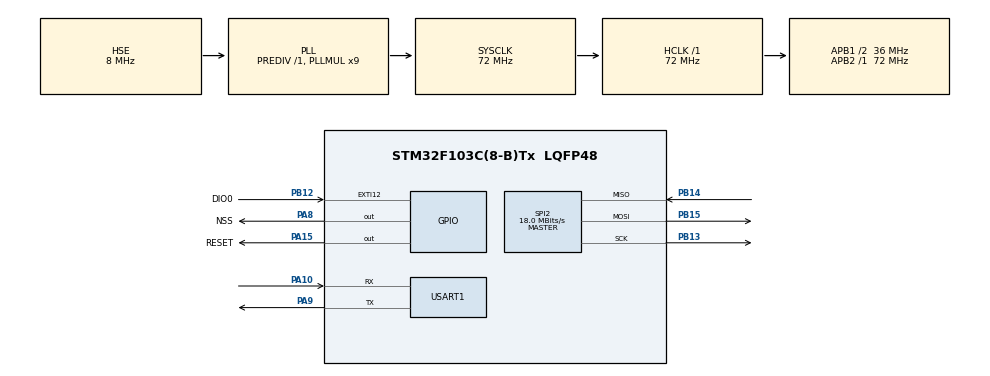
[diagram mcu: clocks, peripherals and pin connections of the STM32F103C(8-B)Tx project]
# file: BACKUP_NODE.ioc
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Mcu.Family=STM32F1
Mcu.Name=STM32F103C(8-B)Tx
Mcu.Package=LQFP48
NVIC.EXTI15_10_IRQn=true\:0\:0\:false\:false\:true\:true\:true\:true
NVIC.PriorityGroup=NVIC_PRIORITYGROUP_4
PA10.Mode=Asynchronous
PA10.Signal=USART1_RX
PA13.Mode=Serial_Wire
PA13.Signal=SYS_JTMS-SWDIO
PA14.Mode=Serial_Wire
PA14.Signal=SYS_JTCK-SWCLK
PA15.GPIO_Label=RESET
PA15.GPIO_PuPd=GPIO_NOPULL
PA15.PinState=GPIO_PIN_SET
PA15.Signal=GPIO_Output
PA8.GPIO_Label=NSS
PA8.PinState=GPIO_PIN_SET
PA8.Signal=GPIO_Output
PA9.Mode=Asynchronous
PA9.Signal=USART1_TX
PB12.GPIO_Label=DIO0
PB12.GPIO_PuPd=GPIO_PULLDOWN
PB12.Signal=GPXTI12
PB13.Mode=Full_Duplex_Master
PB13.Signal=SPI2_SCK
PB14.Mode=Full_Duplex_Master
PB14.Signal=SPI2_MISO
PB15.Mode=Full_Duplex_Master
PB15.Signal=SPI2_MOSI
PD0-OSC_IN.Mode=HSE-External-Oscillator
PD0-OSC_IN.Signal=RCC_OSC_IN
PD1-OSC_OUT.Mode=HSE-External-Oscillator
PD1-OSC_OUT.Signal=RCC_OSC_OUT
ProjectManager.HeapSize=0x200
ProjectManager.StackSize=0x400
ProjectManager.TargetToolchain=STM32CubeIDE
RCC.AHBFreq_Value=72000000
RCC.APB1CLKDivider=RCC_HCLK_DIV2
RCC.APB1Freq_Value=36000000
RCC.APB1TimFreq_Value=72000000
RCC.APB2Freq_Value=72000000
RCC.APB2TimFreq_Value=72000000
RCC.HCLKFreq_Value=72000000
RCC.PLLMUL=RCC_PLL_MUL9
RCC.PLLSourceVirtual=RCC_PLLSOURCE_HSE
RCC.SYSCLKFreq_VALUE=72000000
RCC.SYSCLKSource=RCC_SYSCLKSOURCE_PLLCLK
RCC.USBFreq_Value=72000000
SPI2.BaudRatePrescaler=SPI_BAUDRATEPRESCALER_2
SPI2.CalculateBaudRate=18.0 MBits/s
SPI2.Direction=SPI_DIRECTION_2LINES
SPI2.Mode=SPI_MODE_MASTER
SPI2.VirtualType=VM_MASTER
USART1.VirtualMode=VM_ASYNC
board=custom

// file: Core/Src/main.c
/* USER CODE BEGIN Header */
/**
  ******************************************************************************
  * @file           : main.c
  * @brief          : Main program body
  ******************************************************************************
  * @attention
  *
  * Copyright (c) 2023 STMicroelectronics.
  * All rights reserved.
  *
  * This software is licensed under terms that can be found in the LICENSE file
  * in the root directory of this software component.
  * If no LICENSE file comes with this software, it is provided AS-IS.
  *
  ******************************************************************************
  */
/* USER CODE END Header */
#include "main.h"
#include "spi.h"
#include "usart.h"
#include "gpio.h"

/* USER CODE BEGIN Includes */
#include "LoRa.h"
#include "common.h"

#include <stdio.h>
#include <string.h>
/* USER CODE END Includes */

/* USER CODE BEGIN PV */
LoRa myLoRa;
const char *TAG = "MAIN";
volatile int recv_cnt;
/* USER CODE END PV */

void SystemClock_Config(void);
/* USER CODE BEGIN PFP */
uint8_t get_crc_value(uint8_t *data, int len)
{
    uint8_t crc = 0;
    for (int i = 0; i < len; i++)
    {
        crc ^= data[i];
    }
    return crc;
}

void send_respond(LoRa* _LoRa, uint8_t *packet, uint8_t length, uint16_t timeout)
{
    memset((char *)packet, '\0', strlen((char *)packet));

        sprintf((char *)packet, "$,%d,%d,%d,%s,%s,%d,%s,*", 20, 5, 100, "30.0", "3.9", 5, "20.0");
        int size = strlen((char *)packet);
        packet[size] = get_crc_value(packet, size);
        LOG(TAG, (char *)packet);
	  LoRa_transmit(_LoRa, packet, 128, 500);
}
/* USER CODE END PFP */

int main(void)
{

  /* MCU Configuration--------------------------------------------------------*/

  /* Reset of all peripherals, Initializes the Flash interface and the Systick. */
  HAL_Init();

  /* Configure the system clock */
  SystemClock_Config();

  /* Initialize all configured peripherals */
  MX_GPIO_Init();
  MX_SPI2_Init();
  MX_USART1_UART_Init();
  /* USER CODE BEGIN 2 */
  myLoRa = newLoRa();
  myLoRa.hSPIx                 = &hspi2;
  myLoRa.CS_port               = NSS_GPIO_Port;
  myLoRa.CS_pin                = NSS_Pin;
  myLoRa.reset_port            = RESET_GPIO_Port;
  myLoRa.reset_pin             = RESET_Pin;
  myLoRa.DIO0_port				= DIO0_GPIO_Port;
  myLoRa.DIO0_pin				= DIO0_Pin;

myLoRa.frequency             = 434;							  // default = 433 MHz
myLoRa.spredingFactor        = SF_7;							// default = SF_7
myLoRa.bandWidth			       = BW_125KHz;				  // default = BW_125KHz
myLoRa.crcRate				       = CR_4_5;						// default = CR_4_5
myLoRa.power					       = POWER_20db;				// default = 20db
myLoRa.overCurrentProtection = 120; 							// default = 100 mA
myLoRa.preamble				       = 12;		  					// default = 8;

LoRa_reset(&myLoRa);
LoRa_init(&myLoRa);
LoRa_startReceiving(&myLoRa);
  /* USER CODE END 2 */

  /* Infinite loop */
  /* USER CODE BEGIN WHILE */
uint8_t read_data[128] = {0};
uint8_t send_data[128] = {0};
uint8_t data_log[200] = {0};
  while (1)
  {
    /* USER CODE END WHILE */

    /* USER CODE BEGIN 3 */
	  LoRa_receive(&myLoRa, read_data, 128);
	  HAL_Delay(1500);
	  sprintf(data_log, "Recv counter: %d, Packet RECV: %s", recv_cnt, read_data);
	  LOG(TAG, (char *)data_log);
	  send_respond(&myLoRa, send_data, 128, 500);
  }
  /* USER CODE END 3 */
}

void SystemClock_Config(void)
{
  RCC_OscInitTypeDef RCC_OscInitStruct = {0};
  RCC_ClkInitTypeDef RCC_ClkInitStruct = {0};

  /** Initializes the RCC Oscillators according to the specified parameters
  * in the RCC_OscInitTypeDef structure.
  */
  RCC_OscInitStruct.OscillatorType = RCC_OSCILLATORTYPE_HSE;
  RCC_OscInitStruct.HSEState = RCC_HSE_ON;
  RCC_OscInitStruct.HSEPredivValue = RCC_HSE_PREDIV_DIV1;
  RCC_OscInitStruct.HSIState = RCC_HSI_ON;
  RCC_OscInitStruct.PLL.PLLState = RCC_PLL_ON;
  RCC_OscInitStruct.PLL.PLLSource = RCC_PLLSOURCE_HSE;
  RCC_OscInitStruct.PLL.PLLMUL = RCC_PLL_MUL9;
  if (HAL_RCC_OscConfig(&RCC_OscInitStruct) != HAL_OK)
  {
    Error_Handler();
  }

  /** Initializes the CPU, AHB and APB buses clocks
  */
  RCC_ClkInitStruct.ClockType = RCC_CLOCKTYPE_HCLK|RCC_CLOCKTYPE_SYSCLK
                              |RCC_CLOCKTYPE_PCLK1|RCC_CLOCKTYPE_PCLK2;
  RCC_ClkInitStruct.SYSCLKSource = RCC_SYSCLKSOURCE_PLLCLK;
  RCC_ClkInitStruct.AHBCLKDivider = RCC_SYSCLK_DIV1;
  RCC_ClkInitStruct.APB1CLKDivider = RCC_HCLK_DIV2;
  RCC_ClkInitStruct.APB2CLKDivider = RCC_HCLK_DIV1;

  if (HAL_RCC_ClockConfig(&RCC_ClkInitStruct, FLASH_LATENCY_2) != HAL_OK)
  {
    Error_Handler();
  }
}

/* USER CODE BEGIN 4 */
void HAL_GPIO_EXTI_Callback(uint16_t GPIO_Pin){
	if(GPIO_Pin == myLoRa.DIO0_pin) {
		recv_cnt++;
	}
}
/* USER CODE END 4 */

void Error_Handler(void)
{
  __disable_irq();
  while (1)
  {
  }
}
